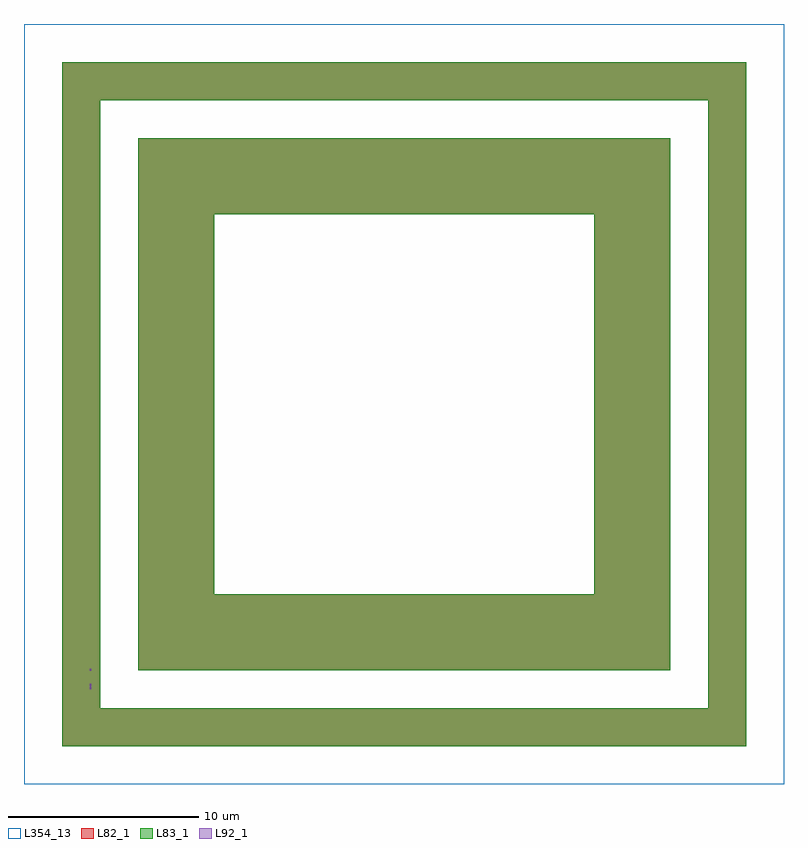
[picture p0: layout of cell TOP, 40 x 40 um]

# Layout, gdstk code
import gdstk
lib = gdstk.Library(unit=1e-6, precision=1e-09)
def R(c, l, rs):  # rectangles x0, y0, x1, y1
    for r in rs: c.add(gdstk.rectangle(r[:2], r[2:], *l))
L82_1 = (82, 1)
L83_1 = (83, 1)
L92_1 = (92, 1)
L354_13 = (354, 13)

top = lib.new_cell('TOP')
R(top, L82_1, [(2,2,38,4), (2,4,4,36), (36,4,38,36), (6,6,34,10), (6,10,10,30), (30,10,34,30), (6,30,34,34), (2,36,38,38)])
R(top, L83_1, [(2,2,38,4), (2,4,4,36), (36,4,38,36), (6,6,34,10), (6,10,10,30), (30,10,34,30), (6,30,34,34), (2,36,38,38)])
R(top, L92_1, [(3.46,5,3.55,5.27), (3.46,5.97,3.55,6.06)])
R(top, L354_13, [(0,0,40,40)])

lib.write_gds('TOP.gds')
